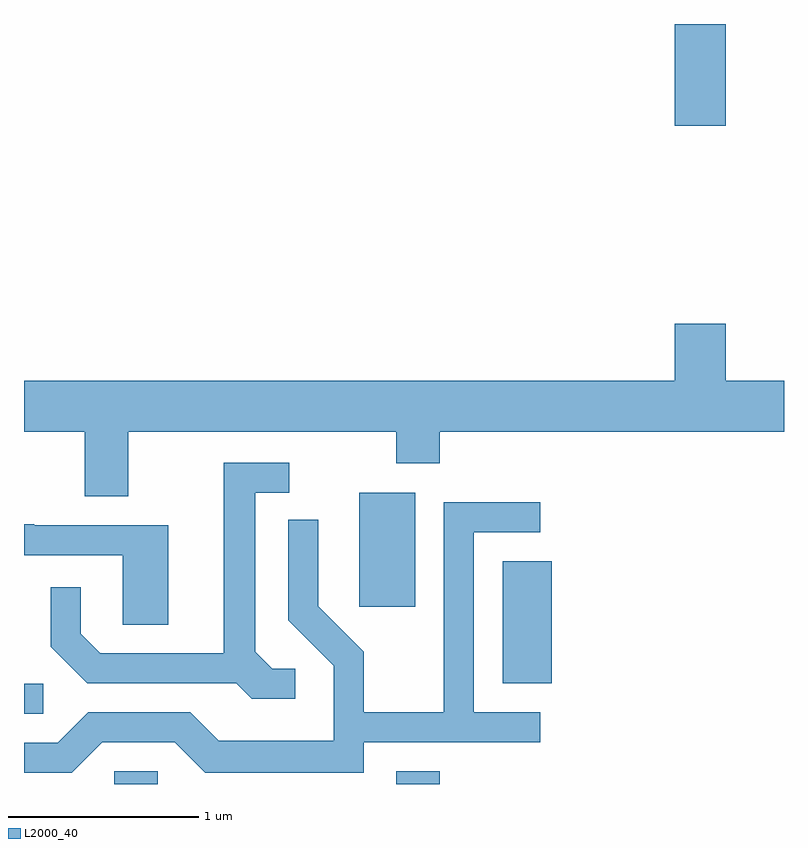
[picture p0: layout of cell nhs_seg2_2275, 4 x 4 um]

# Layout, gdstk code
import gdstk
lib = gdstk.Library(unit=1e-6, precision=1e-09)
def R(c, l, rs):  # rectangles x0, y0, x1, y1
    for r in rs: c.add(gdstk.rectangle(r[:2], r[2:], *l))
def P(c, l, *ps):  # polygons
    for p in ps: c.add(gdstk.Polygon(p, *l))
L2000_40 = (2000, 40)

nhs_seg2_2275 = lib.new_cell('nhs_seg2_2275')
R(nhs_seg2_2275, L2000_40, [(252.086,1039.802,252.314,1039.869), (253.571,1039.802,253.799,1039.869), (251.611,1040.171,251.713,1040.329), (254.131,1040.331,254.389,1040.974), (253.376,1040.736,253.669,1041.334), (255.036,1043.266,255.304,1043.802)])
P(nhs_seg2_2275, L2000_40, [(252.159,1041.656),(253.571,1041.656),(253.571,1041.491),(253.799,1041.491),(253.799,1041.656),(255.611,1041.656),(255.611,1041.924),(255.304,1041.924),(255.304,1042.224),(255.036,1042.224),(255.036,1041.924),(251.611,1041.924),(251.611,1041.656),(251.931,1041.656),(251.931,1041.316),(252.159,1041.316)],
  [(253.038,1040.409),(252.917,1040.409),(252.829,1040.497),(252.829,1041.336),(253.008,1041.336),(253.008,1041.494),(252.661,1041.494),(252.661,1040.489),(252.012,1040.489),(251.909,1040.592),(251.909,1040.838),(251.751,1040.838),(251.751,1040.524),(251.944,1040.331),(252.729,1040.331),(252.809,1040.251),(253.038,1040.251)],
  [(252.022,1040.021),(252.404,1040.021),(252.564,1039.861),(253.399,1039.861),(253.399,1040.021),(254.328,1040.021),(254.328,1040.179),(253.979,1040.179),(253.979,1041.126),(254.328,1041.126),(254.328,1041.284),(253.821,1041.284),(253.821,1040.179),(253.399,1040.179),(253.399,1040.497),(253.159,1040.737),(253.159,1041.193),(253.001,1041.193),(253.001,1040.664),(253.241,1040.424),(253.241,1040.029),(252.637,1040.029),(252.487,1040.179),(251.949,1040.179),(251.789,1040.019),(251.611,1040.019),(251.611,1039.861),(251.862,1039.861)],
  [(252.369,1041.164),(251.665,1041.164),(251.665,1041.169),(251.611,1041.169),(251.611,1041.006),(252.131,1041.006),(252.131,1040.641),(252.369,1040.641)])

lib.write_gds('nhs_seg2_2275.gds')
